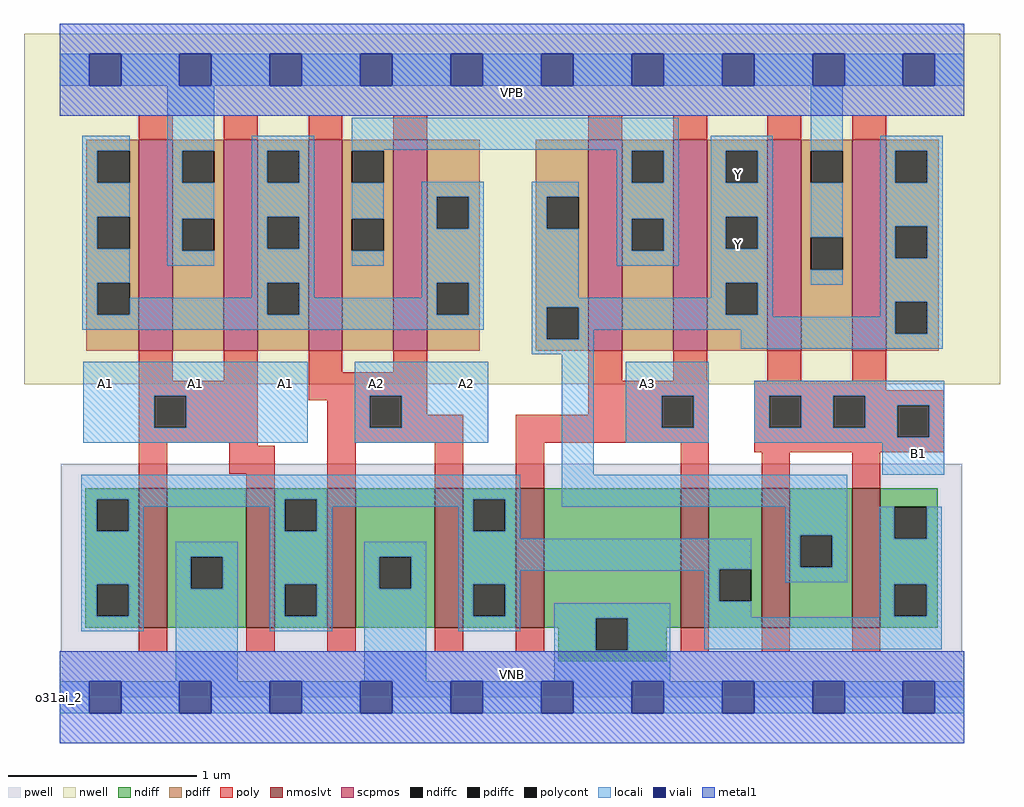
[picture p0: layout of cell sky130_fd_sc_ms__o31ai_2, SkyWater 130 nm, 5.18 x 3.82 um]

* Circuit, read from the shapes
.subckt sky130_fd_sc_ms__o31ai_2 A1 A2 A3 B1 VGND VNB VPB VPWR Y
XM1 VGND A1 n1 VNB sky130_fd_pr__nfet_01v8_lvt w=0.74 l=0.15 m=2
XM2 VGND A2 n1 VNB sky130_fd_pr__nfet_01v8_lvt w=0.74 l=0.15 m=2
XM3 VGND A3 n1 VNB sky130_fd_pr__nfet_01v8_lvt w=0.74 l=0.15 m=2
XM4 Y B1 n1 VNB sky130_fd_pr__nfet_01v8_lvt w=0.74 l=0.15 m=2
XM5 VPWR A1 n2 VPB sky130_fd_pr__pfet_01v8 w=1.12 l=0.18 m=2
XM6 n3 A2 n2 VPB sky130_fd_pr__pfet_01v8 w=1.12 l=0.18 m=2
XM7 n3 A3 Y VPB sky130_fd_pr__pfet_01v8 w=1.12 l=0.18 m=2
XM8 VPWR B1 Y VPB sky130_fd_pr__pfet_01v8 w=1.12 l=0.18 m=2
.ends

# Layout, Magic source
magic
tech sky130A
magscale 1 2
<< nwell >>
rect -38 332 998 704
<< pwell >>
rect 1 49 958 248
rect 0 0 960 49
<< scpmos >>
rect 84 368 120 592
rect 174 368 210 592
rect 264 368 300 592
rect 354 368 390 592
rect 561 368 597 592
rect 651 368 687 592
rect 751 368 787 592
rect 841 368 877 592
<< nmoslvt >>
rect 84 74 114 222
rect 198 74 228 222
rect 284 74 314 222
rect 398 74 428 222
rect 484 74 514 222
rect 659 74 689 222
rect 745 74 775 222
rect 841 74 871 222
<< ndiff >>
rect 27 210 84 222
rect 27 176 39 210
rect 73 176 84 210
rect 27 120 84 176
rect 27 86 39 120
rect 73 86 84 120
rect 27 74 84 86
rect 114 149 198 222
rect 114 115 139 149
rect 173 115 198 149
rect 114 74 198 115
rect 228 210 284 222
rect 228 176 239 210
rect 273 176 284 210
rect 228 120 284 176
rect 228 86 239 120
rect 273 86 284 120
rect 228 74 284 86
rect 314 149 398 222
rect 314 115 339 149
rect 373 115 398 149
rect 314 74 398 115
rect 428 210 484 222
rect 428 176 439 210
rect 473 176 484 210
rect 428 120 484 176
rect 428 86 439 120
rect 473 86 484 120
rect 428 74 484 86
rect 514 84 659 222
rect 514 74 569 84
rect 529 50 569 74
rect 603 74 659 84
rect 689 136 745 222
rect 689 102 700 136
rect 734 102 745 136
rect 689 74 745 102
rect 775 172 841 222
rect 775 138 786 172
rect 820 138 841 172
rect 775 74 841 138
rect 871 202 932 222
rect 871 168 886 202
rect 920 168 932 202
rect 871 120 932 168
rect 871 86 886 120
rect 920 86 932 120
rect 871 74 932 86
rect 603 50 644 74
rect 529 38 644 50
<< pdiff >>
rect 28 580 84 592
rect 28 546 40 580
rect 74 546 84 580
rect 28 510 84 546
rect 28 476 40 510
rect 74 476 84 510
rect 28 440 84 476
rect 28 406 40 440
rect 74 406 84 440
rect 28 368 84 406
rect 120 580 174 592
rect 120 546 130 580
rect 164 546 174 580
rect 120 508 174 546
rect 120 474 130 508
rect 164 474 174 508
rect 120 368 174 474
rect 210 580 264 592
rect 210 546 220 580
rect 254 546 264 580
rect 210 510 264 546
rect 210 476 220 510
rect 254 476 264 510
rect 210 440 264 476
rect 210 406 220 440
rect 254 406 264 440
rect 210 368 264 406
rect 300 580 354 592
rect 300 546 310 580
rect 344 546 354 580
rect 300 508 354 546
rect 300 474 310 508
rect 344 474 354 508
rect 300 368 354 474
rect 390 531 446 592
rect 390 497 400 531
rect 434 497 446 531
rect 390 440 446 497
rect 390 406 400 440
rect 434 406 446 440
rect 390 368 446 406
rect 505 531 561 592
rect 505 497 517 531
rect 551 497 561 531
rect 505 414 561 497
rect 505 380 517 414
rect 551 380 561 414
rect 505 368 561 380
rect 597 580 651 592
rect 597 546 607 580
rect 641 546 651 580
rect 597 508 651 546
rect 597 474 607 508
rect 641 474 651 508
rect 597 368 651 474
rect 687 580 751 592
rect 687 546 707 580
rect 741 546 751 580
rect 687 510 751 546
rect 687 476 707 510
rect 741 476 751 510
rect 687 440 751 476
rect 687 406 707 440
rect 741 406 751 440
rect 687 368 751 406
rect 787 580 841 592
rect 787 546 797 580
rect 831 546 841 580
rect 787 488 841 546
rect 787 454 797 488
rect 831 454 841 488
rect 787 368 841 454
rect 877 580 933 592
rect 877 546 887 580
rect 921 546 933 580
rect 877 500 933 546
rect 877 466 887 500
rect 921 466 933 500
rect 877 420 933 466
rect 877 386 887 420
rect 921 386 933 420
rect 877 368 933 386
<< ndiffc >>
rect 39 176 73 210
rect 39 86 73 120
rect 139 115 173 149
rect 239 176 273 210
rect 239 86 273 120
rect 339 115 373 149
rect 439 176 473 210
rect 439 86 473 120
rect 569 50 603 84
rect 700 102 734 136
rect 786 138 820 172
rect 886 168 920 202
rect 886 86 920 120
<< pdiffc >>
rect 40 546 74 580
rect 40 476 74 510
rect 40 406 74 440
rect 130 546 164 580
rect 130 474 164 508
rect 220 546 254 580
rect 220 476 254 510
rect 220 406 254 440
rect 310 546 344 580
rect 310 474 344 508
rect 400 497 434 531
rect 400 406 434 440
rect 517 497 551 531
rect 517 380 551 414
rect 607 546 641 580
rect 607 474 641 508
rect 707 546 741 580
rect 707 476 741 510
rect 707 406 741 440
rect 797 546 831 580
rect 797 454 831 488
rect 887 546 921 580
rect 887 466 921 500
rect 887 386 921 420
<< poly >>
rect 84 592 120 618
rect 174 592 210 618
rect 264 592 300 618
rect 354 592 390 618
rect 561 592 597 618
rect 651 592 687 618
rect 751 592 787 618
rect 841 592 877 618
rect 84 336 120 368
rect 174 336 210 368
rect 84 320 210 336
rect 84 286 100 320
rect 134 286 210 320
rect 264 345 300 368
rect 354 345 390 368
rect 264 320 390 345
rect 264 315 329 320
rect 84 270 210 286
rect 84 222 114 270
rect 180 267 210 270
rect 284 286 329 315
rect 363 300 390 320
rect 561 336 597 368
rect 651 336 687 368
rect 751 336 787 368
rect 841 336 877 368
rect 561 320 689 336
rect 561 300 639 320
rect 363 286 428 300
rect 284 270 428 286
rect 180 237 228 267
rect 198 222 228 237
rect 284 222 314 270
rect 398 222 428 270
rect 484 286 639 300
rect 673 286 689 320
rect 484 270 689 286
rect 484 222 514 270
rect 659 222 689 270
rect 737 326 877 336
rect 737 320 939 326
rect 737 286 753 320
rect 787 286 821 320
rect 855 310 939 320
rect 855 286 889 310
rect 737 276 889 286
rect 923 276 939 310
rect 737 260 939 276
rect 745 222 775 260
rect 841 222 871 260
rect 84 48 114 74
rect 198 48 228 74
rect 284 48 314 74
rect 398 48 428 74
rect 484 48 514 74
rect 659 48 689 74
rect 745 48 775 74
rect 841 48 871 74
<< polycont >>
rect 100 286 134 320
rect 329 286 363 320
rect 639 286 673 320
rect 753 286 787 320
rect 821 286 855 320
rect 889 276 923 310
<< locali >>
rect 0 649 31 683
rect 65 649 127 683
rect 161 649 223 683
rect 257 649 319 683
rect 353 649 415 683
rect 449 649 511 683
rect 545 649 607 683
rect 641 649 703 683
rect 737 649 799 683
rect 833 649 895 683
rect 929 649 960 683
rect 24 580 74 596
rect 24 546 40 580
rect 24 510 74 546
rect 24 476 40 510
rect 24 440 74 476
rect 114 580 164 649
rect 114 546 130 580
rect 114 508 164 546
rect 114 474 130 508
rect 114 458 164 474
rect 204 580 270 596
rect 204 546 220 580
rect 254 546 270 580
rect 204 510 270 546
rect 204 476 220 510
rect 254 476 270 510
rect 24 406 40 440
rect 204 440 270 476
rect 310 581 657 615
rect 310 580 344 581
rect 591 580 657 581
rect 310 508 344 546
rect 310 458 344 474
rect 384 531 450 547
rect 384 497 400 531
rect 434 497 450 531
rect 204 424 220 440
rect 74 406 220 424
rect 254 424 270 440
rect 384 440 450 497
rect 384 424 400 440
rect 254 406 400 424
rect 434 406 450 440
rect 24 390 450 406
rect 501 531 551 547
rect 501 497 517 531
rect 501 424 551 497
rect 591 546 607 580
rect 641 546 657 580
rect 591 508 657 546
rect 591 474 607 508
rect 641 474 657 508
rect 591 458 657 474
rect 691 580 757 596
rect 691 546 707 580
rect 741 546 757 580
rect 691 510 757 546
rect 691 476 707 510
rect 741 476 757 510
rect 691 440 757 476
rect 691 424 707 440
rect 501 414 707 424
rect 501 380 517 414
rect 551 406 707 414
rect 741 406 757 440
rect 797 580 831 649
rect 797 488 831 546
rect 797 438 831 454
rect 871 580 937 596
rect 871 546 887 580
rect 921 546 937 580
rect 871 500 937 546
rect 871 466 887 500
rect 921 466 937 500
rect 551 404 757 406
rect 871 420 937 466
rect 871 404 887 420
rect 551 390 887 404
rect 551 380 567 390
rect 501 364 567 380
rect 723 386 887 390
rect 921 386 937 420
rect 723 370 937 386
rect 25 320 263 356
rect 25 286 100 320
rect 134 286 263 320
rect 25 270 263 286
rect 313 320 455 356
rect 313 286 329 320
rect 363 286 455 320
rect 313 270 455 286
rect 533 236 567 364
rect 601 320 689 356
rect 601 286 639 320
rect 673 286 689 320
rect 601 270 689 286
rect 737 320 939 336
rect 737 286 753 320
rect 787 286 821 320
rect 855 310 939 320
rect 855 286 889 310
rect 737 276 889 286
rect 923 276 939 310
rect 737 270 939 276
rect 873 236 939 270
rect 23 210 489 236
rect 23 176 39 210
rect 73 202 239 210
rect 73 176 89 202
rect 23 120 89 176
rect 223 176 239 202
rect 273 202 439 210
rect 273 176 289 202
rect 23 86 39 120
rect 73 86 89 120
rect 23 70 89 86
rect 123 149 189 165
rect 123 115 139 149
rect 173 115 189 149
rect 123 17 189 115
rect 223 120 289 176
rect 423 176 439 202
rect 473 176 489 210
rect 533 202 836 236
rect 423 168 489 176
rect 770 172 836 202
rect 223 86 239 120
rect 273 86 289 120
rect 223 70 289 86
rect 323 149 389 165
rect 323 115 339 149
rect 373 115 389 149
rect 323 17 389 115
rect 423 136 734 168
rect 423 134 700 136
rect 423 120 489 134
rect 423 86 439 120
rect 473 86 489 120
rect 684 102 700 134
rect 770 138 786 172
rect 820 138 836 172
rect 770 122 836 138
rect 870 168 886 202
rect 920 168 936 202
rect 423 70 489 86
rect 525 84 648 100
rect 525 50 569 84
rect 603 50 648 84
rect 684 85 734 102
rect 870 120 936 168
rect 870 86 886 120
rect 920 86 936 120
rect 870 85 936 86
rect 684 51 936 85
rect 525 17 648 50
rect 0 -17 31 17
rect 65 -17 127 17
rect 161 -17 223 17
rect 257 -17 319 17
rect 353 -17 415 17
rect 449 -17 511 17
rect 545 -17 607 17
rect 641 -17 703 17
rect 737 -17 799 17
rect 833 -17 895 17
rect 929 -17 960 17
<< viali >>
rect 31 649 65 683
rect 127 649 161 683
rect 223 649 257 683
rect 319 649 353 683
rect 415 649 449 683
rect 511 649 545 683
rect 607 649 641 683
rect 703 649 737 683
rect 799 649 833 683
rect 895 649 929 683
rect 31 -17 65 17
rect 127 -17 161 17
rect 223 -17 257 17
rect 319 -17 353 17
rect 415 -17 449 17
rect 511 -17 545 17
rect 607 -17 641 17
rect 703 -17 737 17
rect 799 -17 833 17
rect 895 -17 929 17
<< metal1 >>
rect 0 683 960 715
rect 0 649 31 683
rect 65 649 127 683
rect 161 649 223 683
rect 257 649 319 683
rect 353 649 415 683
rect 449 649 511 683
rect 545 649 607 683
rect 641 649 703 683
rect 737 649 799 683
rect 833 649 895 683
rect 929 649 960 683
rect 0 617 960 649
rect 0 17 960 49
rect 0 -17 31 17
rect 65 -17 127 17
rect 161 -17 223 17
rect 257 -17 319 17
rect 353 -17 415 17
rect 449 -17 511 17
rect 545 -17 607 17
rect 641 -17 703 17
rect 737 -17 799 17
rect 833 -17 895 17
rect 929 -17 960 17
rect 0 -49 960 -17
<< labels >>
flabel pwell s 0 0 960 49 0 FreeSans 200 0 0 0 VNB
port 6 nsew ground bidirectional
flabel nwell s 0 617 960 666 0 FreeSans 200 0 0 0 VPB
port 7 nsew power bidirectional
rlabel comment s 0 0 0 0 4 o31ai_2
flabel metal1 s 0 617 960 666 0 FreeSans 340 0 0 0 VPWR
port 8 nsew power bidirectional
flabel metal1 s 0 0 960 49 0 FreeSans 340 0 0 0 VGND
port 5 nsew ground bidirectional
flabel locali s 319 316 353 350 0 FreeSans 340 0 0 0 A2
port 2 nsew signal input
flabel locali s 415 316 449 350 0 FreeSans 340 0 0 0 A2
port 2 nsew signal input
flabel locali s 895 242 929 276 0 FreeSans 340 0 0 0 B1
port 4 nsew signal input
flabel locali s 607 316 641 350 0 FreeSans 340 0 0 0 A3
port 3 nsew signal input
flabel locali s 31 316 65 350 0 FreeSans 340 0 0 0 A1
port 1 nsew signal input
flabel locali s 127 316 161 350 0 FreeSans 340 0 0 0 A1
port 1 nsew signal input
flabel locali s 223 316 257 350 0 FreeSans 340 0 0 0 A1
port 1 nsew signal input
flabel locali s 703 464 737 498 0 FreeSans 340 0 0 0 Y
port 9 nsew signal output
flabel locali s 703 538 737 572 0 FreeSans 340 0 0 0 Y
port 9 nsew signal output
<< properties >>
string LEFsite unit
string LEFclass CORE
string FIXED_BBOX 0 0 960 666
string GDS_FILE $PDKPATH/libs.ref/sky130_fd_sc_ms/gds/sky130_fd_sc_ms.gds
string LEFsymmetry X Y
string GDS_END 308896
string GDS_START 300372
<< end >>
